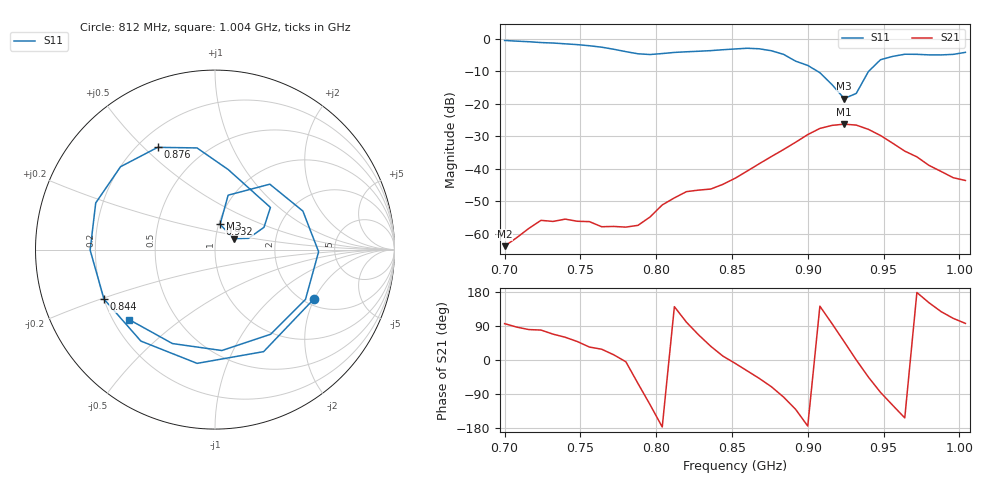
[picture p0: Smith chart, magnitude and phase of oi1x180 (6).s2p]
# Hz S RI R 50
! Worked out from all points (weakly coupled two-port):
!   39 points, 700 MHz to 1.004 GHz, reference 50 ohm
!   highest |S21| = -26.31 dB at 924 MHz (marker M1); lowest = -63.9 dB at 700 MHz (marker M2)
!   lowest |S11| = -18.4 dB at 924 MHz (marker M3), VSWR 1.27, Z = 61 + j7.57 ohm
!   |S11| at or under -10 dB: 906.4 MHz to 940.3 MHz (33.9 MHz wide, 3.67 % of centre)
!   S12 and S22 are empty: the file has one direction only
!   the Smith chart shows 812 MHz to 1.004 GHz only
!   S11 on the Smith chart (normalised r, x): 812 MHz: 2.23, -1.98; 844 MHz: 0.20, -0.20; 876 MHz: 0.28, +0.55; 932 MHz: 1.02, +0.29; 1.004 GHz: 0.26, -0.33
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7e8  0.7589 0.5561  -6.58e-05 0.000636  0 0  0 0
7.24e8  0.8381 -0.2453  0.000306 0.00157  0 0  0 0
7.4e8  0.4574 -0.6984  0.000834 0.00145  0 0  0 0
7.56e8  -0.189 -0.7563  0.00126 0.000855  0 0  0 0
7.72e8  -0.6596 -0.1983  0.00125 0.000306  0 0  0 0
7.8e8  -0.5933 0.2204  0.00125 -0.000102  0 0  0 0
7.88e8  -0.2483 0.5315  0.000627 -0.00118  0 0  0 0
7.96e8  0.2353 0.5206  -0.000851 -0.00159  0 0  0 0
8.04e8  0.5644 0.1764  -0.00276 -0.000157  0 0  0 0
8.12e8  0.5502 -0.276  -0.00274 0.00224  0 0  0 0
8.28e8  -0.0998 -0.6338  0.00188 0.00428  0 0  0 0
8.44e8  -0.6183 -0.2759  0.00563 0.00103  0 0  0 0
8.52e8  -0.6956 -0.00312  0.00701 -0.00106  0 0  0 0
8.76e8  -0.3195 0.5697  0.00511 -0.0145  0 0  0 0
9e8  0.3087 0.2349  -0.0333 -0.00328  0 0  0 0
9.08e8  0.2731 0.1242  -0.0327 0.0256  0 0  0 0
9.24e8  0.1033 0.0612  0.0321 0.0362  0 0  0 0
9.32e8  0.0284 0.141  0.0468 0.000137  0 0  0 0
9.48e8  0.3054 0.3644  0.00258 -0.0323  0 0  0 0
9.56e8  0.4896 0.2147  -0.0121 -0.0215  0 0  0 0
9.8e8  0.31 -0.4716  -0.00981 0.00543  0 0  0 0
1.004e9  -0.4783 -0.39  -0.000756 0.00653  0 0  0 0
